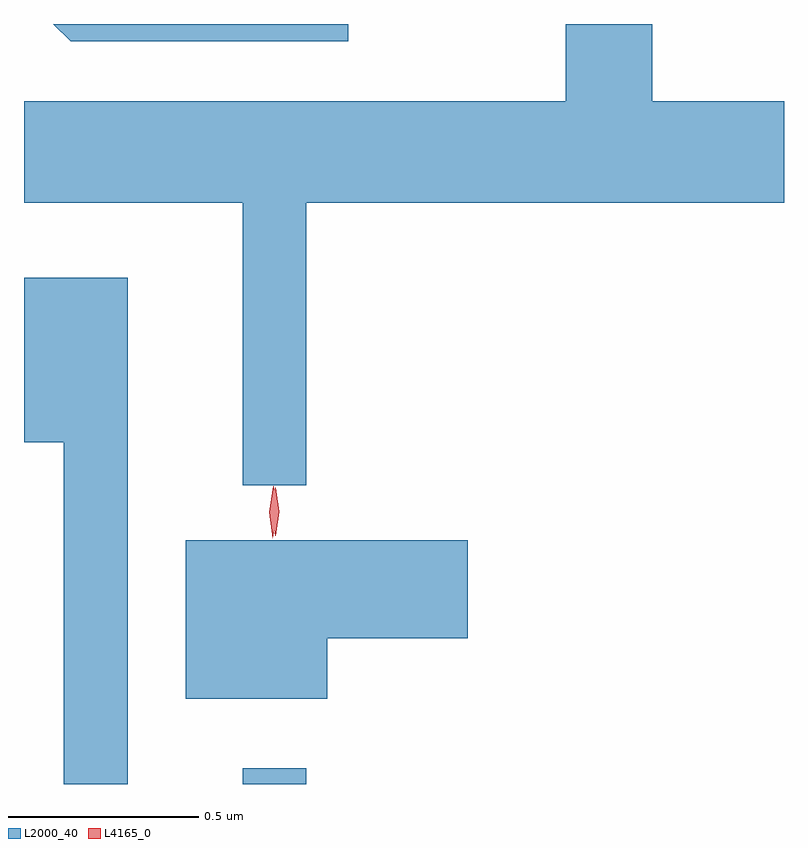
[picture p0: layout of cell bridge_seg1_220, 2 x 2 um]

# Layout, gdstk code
import gdstk
lib = gdstk.Library(unit=1e-6, precision=1e-09)
def R(c, l, rs):  # rectangles x0, y0, x1, y1
    for r in rs: c.add(gdstk.rectangle(r[:2], r[2:], *l))
def P(c, l, *ps):  # polygons
    for p in ps: c.add(gdstk.Polygon(p, *l))
L2000_40 = (2000, 40)
L4165_0 = (4165, 0)

bridge_seg1_220 = lib.new_cell('bridge_seg1_220')
R(bridge_seg1_220, L2000_40, [(779.891,869.187,780.059,869.228)])
P(bridge_seg1_220, L2000_40, [(780.059,870.716),(781.316,870.716),(781.316,870.984),(780.969,870.984),(780.969,871.187),(780.741,871.187),(780.741,870.984),(779.316,870.984),(779.316,870.716),(779.891,870.716),(779.891,869.973),(780.059,869.973)],
  [(780.169,871.187),(779.393,871.187),(779.439,871.141),(780.169,871.141)],
  [(779.589,870.519),(779.316,870.519),(779.316,870.086),(779.421,870.086),(779.421,869.187),(779.589,869.187)],
  [(780.114,869.571),(780.484,869.571),(780.484,869.829),(779.741,869.829),(779.741,869.411),(780.114,869.411)])
P(bridge_seg1_220, L4165_0, [(779.977,869.84),(779.977,869.84),(779.967,869.903),(779.977,869.966),(779.977,869.967),(779.978,869.966),(779.988,869.903),(779.978,869.84)],
  [(779.97,869.834),(779.97,869.834),(779.961,869.902),(779.972,869.97),(779.972,869.97),(779.973,869.97),(779.981,869.902),(779.971,869.834)])

lib.write_gds('bridge_seg1_220.gds')
